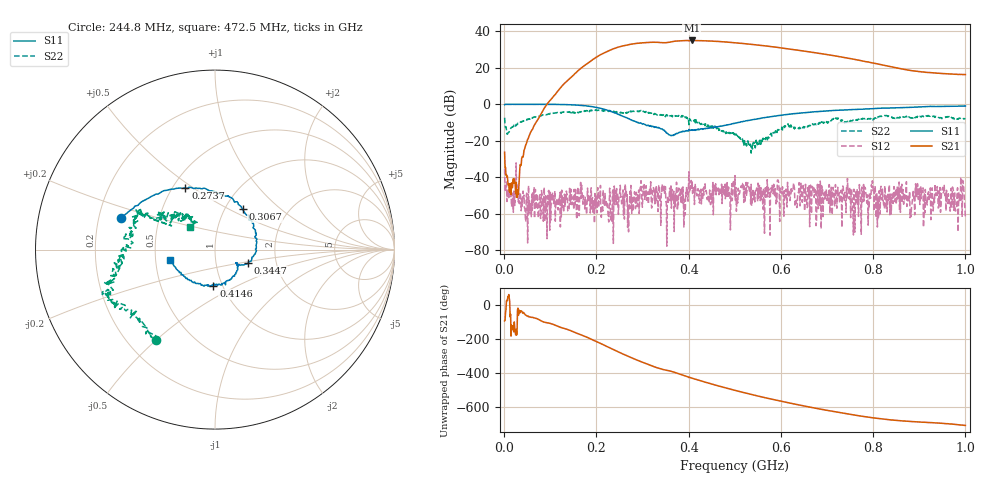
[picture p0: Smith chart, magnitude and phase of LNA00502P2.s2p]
! Created with skrf 1.9.0 (http://scikit-rf.org).
# Hz S RI R 50.0
!freq ReS11 ImS11 ReS21 ImS21 ReS12 ImS12 ReS22 ImS22
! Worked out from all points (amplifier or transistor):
!   1001 points, 1 MHz to 1 GHz, reference 50 ohm
!   highest |S21| = 35.0 dB at 406.6 MHz (marker M1)
!   |S21| within 3 dB of that: 257.3 MHz to 566.2 MHz (308.9 MHz wide, 75 % of centre) (the widest 1 of 2)
!   unconditionally stable (mu >= 1): 18.62 MHz to 59.6 MHz; 317.7 MHz to 400.5 MHz; 400.7 MHz to end of sweep (the widest 3 of 41)
!   at 166.8 MHz: K = 2.08, MAG = 29.8 dB, |S12| = -51.6 dB
!   at 500.5 MHz: K = 1.11, MAG = 34.4 dB, |S12| = -39.1 dB
!   at 1 GHz: K = 15.29, MAG = 24.3 dB, |S12| = -61.9 dB
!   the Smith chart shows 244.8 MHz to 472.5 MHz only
!   S11 on the Smith chart (normalised r, x): 244.8 MHz: 0.30, +0.15; 273.7 MHz: 0.58, +0.47; 306.7 MHz: 1.21, +0.59; 344.7 MHz: 1.43, -0.22; 414.6 MHz: 0.91, -0.38; 472.5 MHz: 0.60, -0.07
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1000000  0.9731 0.0048  -0.00417 -0.0483  -0.0162 0.00524  0.3292 0.2735
1.08892e8  0.5198 -0.8489  -0.8307 -1.553  -0.0012 -0.00174  0.4247 -0.3791
1.67833e8  -0.2351 -0.9005  -10.07 -0.487  0.000632 0.00605  0.045 -0.6222
2.1079e8  -0.6727 -0.3619  -15.5 17.74  0.000101 -0.000787  -0.2331 -0.648
2.44756e8  -0.5209 0.1748  1.669 36.08  0.00135 0.00118  -0.3275 -0.5063
2.73727e8  -0.1645 0.345  27.38 34.54  0.00119 -0.00072  -0.5622 -0.3246
3.06694e8  0.1537 0.2257  47.5 13.03  -0.00266 7.97e-05  -0.5746 -0.1657
3.34666e8  0.2312 -0.00553  48.81 -10.14  -0.00266 0.00454  -0.5113 -0.0282
3.44656e8  0.1839 -0.0735  45.8 -16.57  0.00185 0.00369  -0.5181 -0.00129
3.73627e8  0.1282 -0.0946  41.96 -34.86  -0.00085 0.00725  -0.4537 0.1633
4.06594e8  0.04 -0.1901  19.88 -52.71  -0.00239 0.00436  -0.3064 0.2041
4.14586e8  -0.00914 -0.2017  13.43 -54.26  0.00419 0.00516  -0.2672 0.1566
4.41559e8  -0.1326 -0.1715  -7.591 -54.33  0.00316 -0.000674  -0.1829 0.2005
4.72528e8  -0.2499 -0.0557  -26.62 -44.35  0.00091 0.00167  -0.142 0.125
5.005e8  -0.2856 0.1013  -38.45 -30.41  0.00992 -0.00486  -0.1088 0.0735
5.4046e8  -0.2303 0.3057  -42.51 -8.764  0.00244 -5.72e-05  -0.0866 -0.00153
5.88412e8  -0.0398 0.4751  -35 11.67  0.00219 -0.00374  -0.164 -0.0908
6.28372e8  0.1507 0.5331  -23.71 20.62  0.0053 -0.00209  -0.2084 -0.1094
6.67333e8  0.335 0.5153  -12.44 23.5  0.000613 -0.00478  -0.2679 -0.0446
7.49251e8  0.6183 0.3523  3.551 17.71  0.00492 -0.00159  -0.3378 0.0495
8.34166e8  0.7809 0.1144  7.539 7.996  -0.00332 -0.00209  -0.4307 0.1689
1e9  0.7891 -0.4336  6.372 1.475  0.00054 -0.000596  -0.0984 0.385
